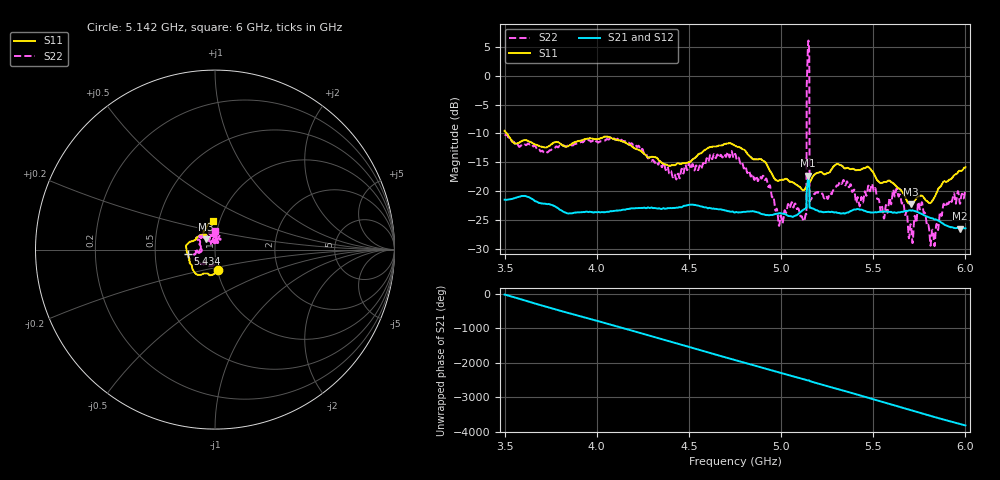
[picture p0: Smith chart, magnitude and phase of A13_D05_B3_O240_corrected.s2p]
! Created with skrf 1.9.0 (http://scikit-rf.org).
# Hz S RI R 50.0
!freq ReS11 ImS11 ReS21 ImS21 ReS12 ImS12 ReS22 ImS22
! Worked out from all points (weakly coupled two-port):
!   1601 points, 3.5 GHz to 6 GHz, reference 50 ohm
!   highest |S21| = -17.33 dB at 5.147 GHz (marker M1); lowest = -26.5 dB at 5.972 GHz (marker M2)
!   lowest |S11| = -22.3 dB at 5.706 GHz (marker M3), VSWR 1.17, Z = 44.8 + j5.19 ohm
!   |S11| at or under -10 dB: 3.512 GHz to end of sweep
!   |S22| runs from -29.6 to 6.1 dB; largest |S21 - S12| = 0.0012
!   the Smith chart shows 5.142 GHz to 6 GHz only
!   S11 on the Smith chart (normalised r, x): 5.142 GHz: 1.01, -0.23; 5.434 GHz: 0.74, -0.04; 6 GHz: 0.93, +0.31
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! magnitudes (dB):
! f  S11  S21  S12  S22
! 3.5 GHz  -9.6  -21.5  -21.5  -10.2
! 3.917 GHz  -11.2  -23.7  -23.7  -11.4
! 4.334 GHz  -14.5  -23.0  -23.0  -15.4
! 4.439 GHz  -15.2  -22.9  -22.9  -17.0
! 4.75 GHz  -12.1  -23.7  -23.7  -13.5
! 4.912 GHz  -14.9  -24.1  -24.1  -18.1
! 4.997 GHz  -18.1  -23.8  -23.8  -24.4
! 5.125 GHz  -19.8  -23.2  -23.2  -25.2
! 5.142 GHz  -19.0  -19.1  -19.0  1.4
! 5.147 GHz  -18.8  -17.3  -17.3  5.8
! 5.152 GHz  -18.6  -18.7  -18.7  4.9
! 5.167 GHz  -17.7  -23.0  -23.0  -21.1
! 5.33 GHz  -15.6  -23.9  -23.8  -18.7
! 5.434 GHz  -16.3  -23.2  -23.2  -21.3
! 5.484 GHz  -16.2  -23.7  -23.7  -19.9
! 5.584 GHz  -18.1  -23.6  -23.6  -21.9
! 5.636 GHz  -19.5  -23.7  -23.7  -20.8
! 5.706 GHz  -22.3  -23.4  -23.4  -26.2
! 5.753 GHz  -20.8  -23.8  -23.8  -23.2
! 5.822 GHz  -21.6  -24.7  -24.7  -26.7
! 5.972 GHz  -16.5  -26.5  -26.5  -22.2
! 6 GHz  -15.9  -26.5  -26.4  -19.8
